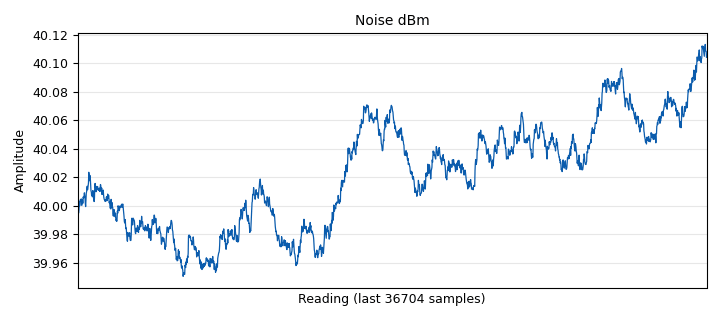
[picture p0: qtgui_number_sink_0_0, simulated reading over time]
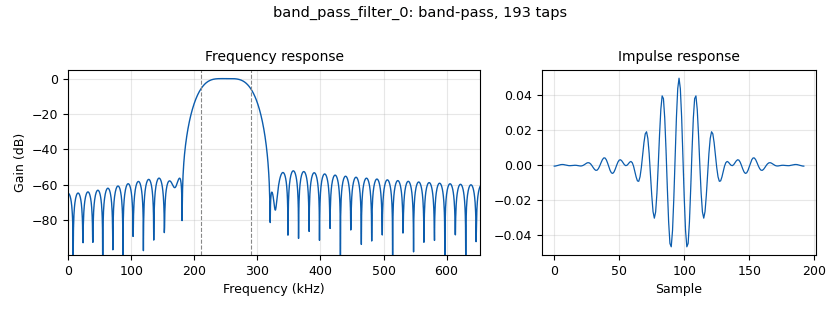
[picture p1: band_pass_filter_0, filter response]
options:
  parameters:
    author: Brian Montero
    generate_options: qt_gui
    id: ruido
    output_language: python
    title: Ruido_AM
  states: {}

blocks:
- name: amp
  id: variable_qtgui_range
  parameters:
    label: Amplitud Ruido
    start: '0'
    step: '0.01'
    stop: '2'
    value: '.1'
  states: {}
- name: amp_msj
  id: variable_qtgui_range
  parameters:
    label: Amplitud Msj
    start: '0.1'
    step: '0.1'
    stop: '1'
    value: '.1'
  states: {state: disabled}
- name: samp_rate
  id: variable
  parameters:
    value: 3.2e6
  states: {}
- name: analog_const_source_x_0
  id: analog_const_source_x
  parameters:
    const: '20'
    type: float
  states: {}
- name: analog_const_source_x_0_0
  id: analog_const_source_x
  parameters:
    const: '20'
    type: float
  states: {}
- name: analog_const_source_x_1
  id: analog_const_source_x
  parameters:
    const: '0.001'
    type: float
  states: {}
- name: analog_const_source_x_1_0
  id: analog_const_source_x
  parameters:
    const: '0.001'
    type: float
  states: {}
- name: analog_noise_source_x_0
  id: analog_noise_source_x
  parameters:
    amp: amp
    noise_type: analog.GR_GAUSSIAN
    seed: '0'
    type: float
  states: {}
- name: analog_sig_source_x_0_0
  id: analog_sig_source_x
  parameters:
    amp: '0.1'
    freq: 10e3
    offset: '0'
    phase: '0'
    samp_rate: samp_rate
    type: float
    waveform: analog.GR_SIN_WAVE
  states: {state: disabled}
- name: analog_sig_source_x_1
  id: analog_sig_source_x
  parameters:
    amp: '.5'
    freq: 250e3
    offset: '0'
    phase: '0'
    samp_rate: samp_rate
    type: float
    waveform: analog.GR_SIN_WAVE
  states: {}
- name: band_pass_filter_0
  id: band_pass_filter
  parameters:
    decim: '1'
    gain: '1'
    high_cutoff_freq: 290e3
    low_cutoff_freq: 210e3
    samp_rate: samp_rate
    type: fir_filter_fff
    width: 40e3
    win: window.WIN_HAMMING
  states: {}
- name: blocks_add_xx_0
  id: blocks_add_xx
  parameters:
    type: float
  states: {}
- name: blocks_add_xx_0_0
  id: blocks_add_xx
  parameters:
    type: float
  states: {}
- name: blocks_divide_xx_0
  id: blocks_divide_xx
  parameters:
    type: float
  states: {}
- name: blocks_divide_xx_0_0
  id: blocks_divide_xx
  parameters:
    type: float
  states: {}
- name: blocks_file_sink_0
  id: blocks_file_sink
  parameters:
    file: D:\Universidad\2024-1\LABCOM\informe 2\AM\Ruido\Ruido_Salida_01_0.txt
    type: float
  states: {state: disabled}
- name: blocks_file_sink_0_0
  id: blocks_file_sink
  parameters:
    file: D:\Universidad\2024-1\LABCOM\informe 2\AM\Ruido\Ruido_Msj_01_0.txt
    type: float
  states: {state: disabled}
- name: blocks_head_1
  id: blocks_head
  parameters:
    num_items: '1024'
    type: float
  states: {state: disabled}
- name: blocks_head_1_0
  id: blocks_head
  parameters:
    num_items: '1024'
    type: float
  states: {state: disabled}
- name: blocks_multiply_const_vxx_0
  id: blocks_multiply_const_vxx
  parameters:
    const: '.5'
    type: float
  states: {}
- name: blocks_multiply_xx_0
  id: blocks_multiply_xx
  parameters:
    type: float
  states: {}
- name: blocks_multiply_xx_0_0
  id: blocks_multiply_xx
  parameters:
    type: float
  states: {}
- name: blocks_multiply_xx_0_1
  id: blocks_multiply_xx
  parameters:
    type: float
  states: {}
- name: blocks_nlog10_ff_0
  id: blocks_nlog10_ff
  parameters:
    k: '0'
  states: {}
- name: blocks_nlog10_ff_0_0
  id: blocks_nlog10_ff
  parameters:
    k: '0'
  states: {}
- name: blocks_repeat_0
  id: blocks_repeat
  parameters:
    interp: '1'
    type: float
  states: {state: disabled}
- name: blocks_repeat_0_0
  id: blocks_repeat
  parameters:
    interp: '1'
    type: float
  states: {state: disabled}
- name: blocks_rms_xx_0
  id: blocks_rms_xx
  parameters:
    alpha: '0.0001'
    type: float
  states: {}
- name: blocks_rms_xx_0_0
  id: blocks_rms_xx
  parameters:
    alpha: '0.0001'
    type: float
  states: {}
- name: blocks_sub_xx_0
  id: blocks_sub_xx
  parameters:
    type: float
  states: {}
- name: blocks_throttle2_0
  id: blocks_throttle2
  parameters:
    samples_per_second: samp_rate
    type: float
  states: {}
- name: blocks_throttle2_0_0
  id: blocks_throttle2
  parameters:
    samples_per_second: samp_rate
    type: float
  states: {}
- name: blocks_wavfile_source_0
  id: blocks_wavfile_source
  parameters:
    file: D:\Universidad\2024-1\LABCOM\informe 2\AM\Ruido\Audio\nombre.mp3
    repeat: 'True'
  states: {}
- name: qtgui_freq_sink_x_0
  id: qtgui_freq_sink_x
  parameters:
    bw: samp_rate
    fc: '0'
    fftsize: '1024'
    label1: Modulada
    name: Representacion Espectral
    type: float
  states: {state: disabled}
- name: qtgui_freq_sink_x_0_0
  id: qtgui_freq_sink_x
  parameters:
    bw: samp_rate
    fc: '0'
    fftsize: '1024'
    label1: Modulada
    name: Representacion Espectral
    type: float
  states: {state: disabled}
- name: qtgui_number_sink_0
  id: qtgui_number_sink
  parameters:
    graph_type: qtgui.NUM_GRAPH_HORIZ
    name: SNR dB
    type: float
  states: {}
- name: qtgui_number_sink_0_0
  id: qtgui_number_sink
  parameters:
    graph_type: qtgui.NUM_GRAPH_HORIZ
    name: Noise dBm
    type: float
  states: {}
- name: qtgui_time_sink_x_0_0
  id: qtgui_time_sink_x
  parameters:
    label1: Modulada
    label2: Mensaje
    label3: Portadora
    name: Representacion temporal
    nconnections: '3'
    size: '512'
    srate: samp_rate
    style1: '2'
    type: float
  states: {state: disabled}
- name: qtgui_time_sink_x_0_0_0
  id: qtgui_time_sink_x
  parameters:
    label1: Modulada
    name: Representacion temporal
    size: '512'
    srate: samp_rate
    style1: '2'
    type: float
  states: {}
- name: virtual_sink_0
  id: virtual_sink
  parameters:
    stream_id: senal
  states: {}
- name: virtual_source_0
  id: virtual_source
  parameters:
    stream_id: senal
  states: {}

connections:
- [analog_const_source_x_0, '0', blocks_multiply_xx_0_0, '1']
- [analog_const_source_x_0_0, '0', blocks_multiply_xx_0, '1']
- [analog_const_source_x_1, '0', blocks_divide_xx_0, '1']
- [analog_const_source_x_1_0, '0', blocks_divide_xx_0_0, '1']
- [analog_noise_source_x_0, '0', blocks_add_xx_0, '1']
- [analog_noise_source_x_0, '0', blocks_rms_xx_0_0, '0']
- [analog_sig_source_x_0_0, '0', blocks_multiply_xx_0_1, '0']
- [analog_sig_source_x_0_0, '0', blocks_repeat_0_0, '0']
- [analog_sig_source_x_0_0, '0', qtgui_time_sink_x_0_0, '1']
- [analog_sig_source_x_1, '0', blocks_add_xx_0_0, '1']
- [analog_sig_source_x_1, '0', blocks_multiply_xx_0_1, '1']
- [analog_sig_source_x_1, '0', qtgui_time_sink_x_0_0, '2']
- [band_pass_filter_0, '0', blocks_throttle2_0_0, '0']
- [band_pass_filter_0, '0', virtual_sink_0, '0']
- [blocks_add_xx_0, '0', blocks_repeat_0, '0']
- [blocks_add_xx_0, '0', blocks_throttle2_0, '0']
- [blocks_add_xx_0_0, '0', band_pass_filter_0, '0']
- [blocks_divide_xx_0, '0', blocks_nlog10_ff_0, '0']
- [blocks_divide_xx_0_0, '0', blocks_nlog10_ff_0_0, '0']
- [blocks_head_1, '0', blocks_file_sink_0, '0']
- [blocks_head_1_0, '0', blocks_file_sink_0_0, '0']
- [blocks_multiply_const_vxx_0, '0', blocks_multiply_xx_0_1, '0']
- [blocks_multiply_xx_0, '0', blocks_sub_xx_0, '0']
- [blocks_multiply_xx_0_0, '0', blocks_sub_xx_0, '1']
- [blocks_multiply_xx_0_0, '0', qtgui_number_sink_0_0, '0']
- [blocks_multiply_xx_0_1, '0', blocks_add_xx_0_0, '0']
- [blocks_nlog10_ff_0, '0', blocks_multiply_xx_0, '0']
- [blocks_nlog10_ff_0_0, '0', blocks_multiply_xx_0_0, '0']
- [blocks_repeat_0, '0', blocks_head_1, '0']
- [blocks_repeat_0_0, '0', blocks_head_1_0, '0']
- [blocks_rms_xx_0, '0', blocks_divide_xx_0, '0']
- [blocks_rms_xx_0_0, '0', blocks_divide_xx_0_0, '0']
- [blocks_sub_xx_0, '0', qtgui_number_sink_0, '0']
- [blocks_throttle2_0, '0', qtgui_freq_sink_x_0_0, '0']
- [blocks_throttle2_0, '0', qtgui_time_sink_x_0_0_0, '0']
- [blocks_throttle2_0_0, '0', qtgui_freq_sink_x_0, '0']
- [blocks_throttle2_0_0, '0', qtgui_time_sink_x_0_0, '0']
- [blocks_wavfile_source_0, '0', blocks_multiply_const_vxx_0, '0']
- [virtual_source_0, '0', blocks_add_xx_0, '0']
- [virtual_source_0, '0', blocks_rms_xx_0, '0']

metadata:
  file_format: 1
  grc_version: 3.10.7.0
